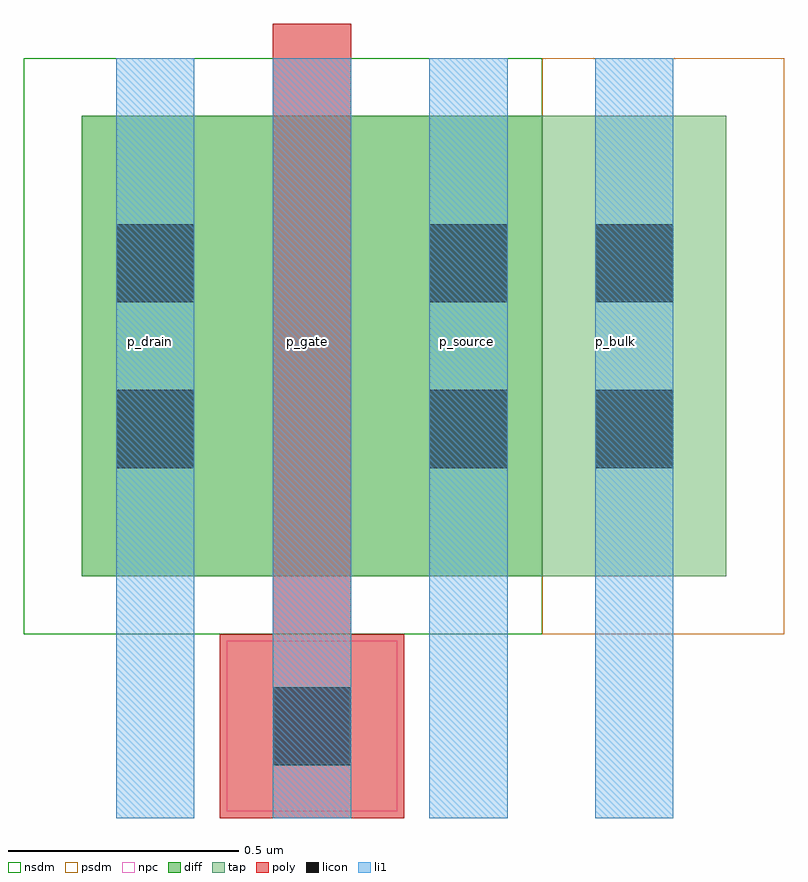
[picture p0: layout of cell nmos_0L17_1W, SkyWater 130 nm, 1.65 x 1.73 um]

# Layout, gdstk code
import gdstk
lib = gdstk.Library(unit=1e-6, precision=5e-09)
def R(c, l, rs):  # rectangles x0, y0, x1, y1
    for r in rs: c.add(gdstk.rectangle(r[:2], r[2:], *l))
def A(c, l, x, y, w, h, nx, ny, dx, dy):  # array of equal rectangles
    R(c, l, [(x+i*dx, y+j*dy, x+i*dx+w, y+j*dy+h) for i in range(nx) for j in range(ny)])
diff = (65, 20)
tap = (65, 44)
poly = (66, 20)
licon = (66, 44)
li1 = (67, 20)
nsdm = (93, 44)
psdm = (94, 20)
npc = (95, 20)

nmos_0l17_1w = lib.new_cell('nmos_0L17_1W')
R(nmos_0l17_1w, diff, [(40.445,27.965,41.445,28.965)])
R(nmos_0l17_1w, tap, [(41.445,27.965,41.845,28.965)])
R(nmos_0l17_1w, poly, [(40.745,27.44,41.145,27.84), (40.86,27.84,41.03,29.165)])
R(nmos_0l17_1w, licon, [(40.86,27.555,41.03,27.725), (40.52,28.2,40.69,28.37), (41.2,28.2,41.37,28.37), (41.56,28.2,41.73,28.37), (40.52,28.56,40.69,28.73), (41.2,28.56,41.37,28.73), (41.56,28.56,41.73,28.73)])
A(nmos_0l17_1w, li1, 40.52, 27.44, 0.17, 1.65, 3, 1, 0.34, 0)
R(nmos_0l17_1w, li1, [(41.56,27.44,41.73,29.09)])
R(nmos_0l17_1w, nsdm, [(40.32,27.84,41.445,29.09)])
R(nmos_0l17_1w, psdm, [(41.445,27.84,41.97,29.09)])
R(nmos_0l17_1w, npc, [(40.76,27.455,41.13,27.825)])
nmos_0l17_1w.add(gdstk.Label('p_bulk', (41.605,28.475), layer=67, texttype=5))
nmos_0l17_1w.add(gdstk.Label('p_source', (41.28,28.475), layer=67, texttype=5))
nmos_0l17_1w.add(gdstk.Label('p_gate', (40.935,28.475), layer=67, texttype=5))
nmos_0l17_1w.add(gdstk.Label('p_drain', (40.595,28.475), layer=67, texttype=5))

lib.write_gds('nmos_0L17_1W.gds')
